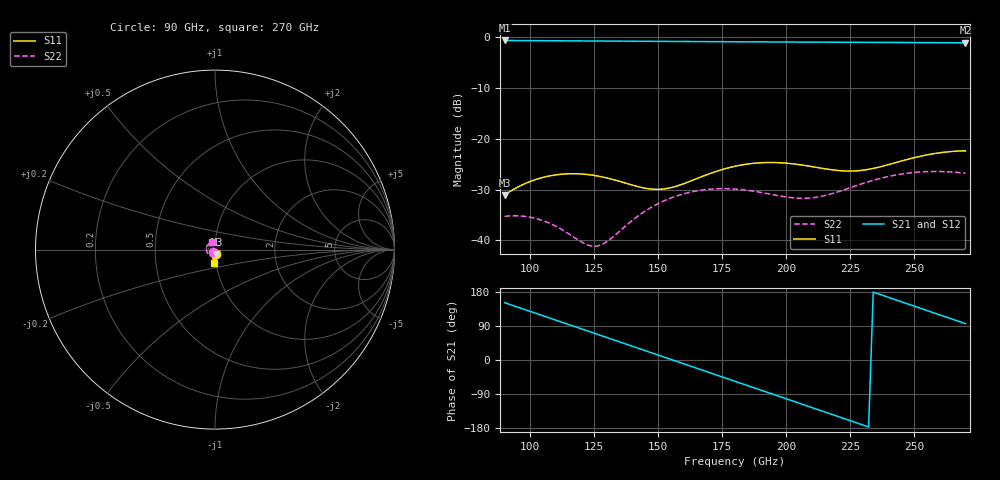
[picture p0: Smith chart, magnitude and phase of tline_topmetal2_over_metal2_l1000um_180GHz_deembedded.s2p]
! Created with skrf 2.0.1 (http://scikit-rf.org).
# GHz S DB R 50.0
!freq dBS11 angS11 dBS21 angS21 dBS12 angS12 dBS22 angS22
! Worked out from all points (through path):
!   101 points, 90 GHz to 270 GHz, reference 50 ohm
!   highest |S21| = -0.68 dB at 90 GHz (marker M1); lowest = -1.1 dB at 270 GHz (marker M2)
!   group delay of S21, straight-line fit = 6.41 ps
!   lowest |S11| = -31.1 dB at 90 GHz (marker M3), VSWR 1.06, Z = 50.7 - j2.72 ohm
!   |S11| at or under -10 dB: start of sweep to end of sweep
!   |S22| runs from -41.1 to -26.4 dB; largest |S21 - S12| = 1.1e-14
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90  -31.07 -73.1  -0.68 151.3  -0.68 151.3  -35.26 -120.7
99  -28.60 -79.2  -0.71 130.5  -0.71 130.5  -35.35 -148.2
106.2  -27.45 -87.0  -0.74 114.0  -0.74 114.0  -36.33 -174.2
113.4  -26.93 -95.2  -0.76 97.4  -0.76 97.4  -38.16 153.8
120.6  -26.95 -102.6  -0.78 80.8  -0.78 80.8  -40.46 109.4
127.8  -27.47 -108.2  -0.80 64.2  -0.80 64.2  -40.85 49.6
136.8  -28.66 -110.2  -0.82 43.4  -0.82 43.4  -37.34 -13.5
151.2  -29.92 -96.2  -0.86 10.2  -0.86 10.2  -32.45 -78.6
158.4  -29.12 -87.0  -0.88 -6.4  -0.88 -6.4  -31.05 -106.2
165.6  -27.73 -82.7  -0.90 -23.0  -0.90 -23.0  -30.20 -133.1
180  -25.41 -86.7  -0.94 -56.2  -0.94 -56.2  -29.90 171.6
187.2  -24.84 -91.5  -0.96 -72.8  -0.96 -72.8  -30.31 141.4
194.4  -24.67 -96.4  -0.98 -89.4  -0.98 -89.4  -30.96 108.1
201.6  -24.88 -100.2  -0.99 -106.0  -0.99 -106.0  -31.56 70.9
210.6  -25.52 -102.0  -1.01 -126.8  -1.01 -126.8  -31.59 19.9
219.6  -26.21 -98.7  -1.03 -147.6  -1.03 -147.6  -30.53 -30.1
226.8  -26.33 -92.8  -1.05 -164.2  -1.05 -164.2  -29.32 -66.2
234  -25.84 -86.7  -1.06 179.1  -1.06 179.1  -28.18 -98.9
241.2  -24.92 -83.2  -1.08 162.5  -1.08 162.5  -27.29 -129.5
248.4  -23.93 -82.9  -1.10 145.9  -1.10 145.9  -26.71 -158.9
257.4  -22.96 -85.8  -1.12 125.1  -1.12 125.1  -26.44 164.4
270  -22.38 -92.2  -1.15 96.0  -1.15 96.0  -26.76 110.5
